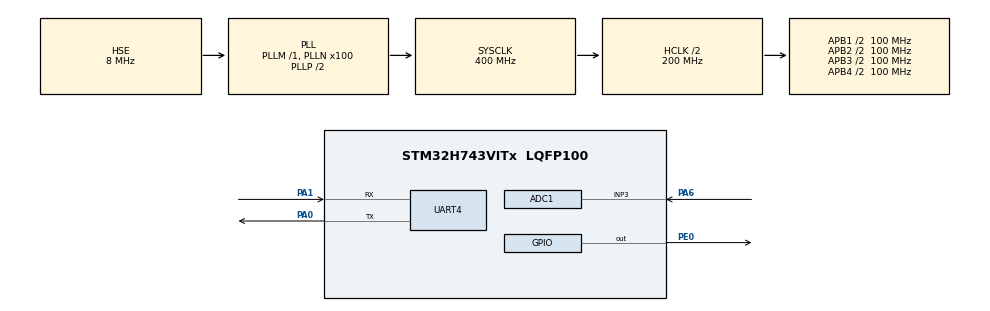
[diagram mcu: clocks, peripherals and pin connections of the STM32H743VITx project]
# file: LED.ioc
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ADC1.Channel-0\#ChannelRegularConversion=ADC_CHANNEL_3
ADC1.ClockPrescaler=ADC_CLOCK_ASYNC_DIV6
ADC1.ConversionDataManagement=ADC_CONVERSIONDATA_DMA_CIRCULAR
ADC1.ExternalTrigConv=ADC_EXTERNALTRIG_T3_TRGO
ADC1.NbrOfConversion=1
ADC1.NbrOfConversionFlag=1
ADC1.OffsetNumber-0\#ChannelRegularConversion=ADC_OFFSET_NONE
ADC1.OversamplingMode=ENABLE
ADC1.Rank-0\#ChannelRegularConversion=1
ADC1.Ratio=1023
ADC1.RightBitShift=ADC_RIGHTBITSHIFT_10
ADC1.SamplingTime-0\#ChannelRegularConversion=ADC_SAMPLETIME_1CYCLE_5
ADC1.master=1
Bdma.BDMA_GENERATOR0.0.Direction=DMA_MEMORY_TO_PERIPH
Bdma.BDMA_GENERATOR0.0.EventEnable=DISABLE
Bdma.BDMA_GENERATOR0.0.Instance=BDMA_Channel0
Bdma.BDMA_GENERATOR0.0.MemDataAlignment=DMA_MDATAALIGN_HALFWORD
Bdma.BDMA_GENERATOR0.0.MemInc=DMA_MINC_ENABLE
Bdma.BDMA_GENERATOR0.0.Mode=DMA_CIRCULAR
Bdma.BDMA_GENERATOR0.0.PeriphDataAlignment=DMA_PDATAALIGN_HALFWORD
Bdma.BDMA_GENERATOR0.0.PeriphInc=DMA_PINC_DISABLE
Bdma.BDMA_GENERATOR0.0.Polarity=HAL_DMAMUX_REQ_GEN_RISING
Bdma.BDMA_GENERATOR0.0.Priority=DMA_PRIORITY_LOW
Bdma.BDMA_GENERATOR0.0.RequestNumber=1
Bdma.BDMA_GENERATOR0.0.SignalID=HAL_DMAMUX2_REQ_GEN_LPTIM2_OUT
Bdma.BDMA_GENERATOR0.0.SyncEnable=DISABLE
Bdma.BDMA_GENERATOR0.0.SyncPolarity=HAL_DMAMUX_SYNC_NO_EVENT
Bdma.BDMA_GENERATOR0.0.SyncRequestNumber=1
Bdma.BDMA_GENERATOR0.0.SyncSignalID=NONE
Bdma.Request0=BDMA_GENERATOR0
Bdma.RequestsNb=1
CORTEX_M7.CPU_DCache=Disabled
CORTEX_M7.CPU_ICache=Disabled
Dma.ADC1.0.Direction=DMA_PERIPH_TO_MEMORY
Dma.ADC1.0.EventEnable=DISABLE
Dma.ADC1.0.FIFOMode=DMA_FIFOMODE_DISABLE
Dma.ADC1.0.Instance=DMA1_Stream0
Dma.ADC1.0.MemDataAlignment=DMA_MDATAALIGN_HALFWORD
Dma.ADC1.0.MemInc=DMA_MINC_ENABLE
Dma.ADC1.0.Mode=DMA_CIRCULAR
Dma.ADC1.0.PeriphDataAlignment=DMA_PDATAALIGN_HALFWORD
Dma.ADC1.0.PeriphInc=DMA_PINC_DISABLE
Dma.ADC1.0.Polarity=HAL_DMAMUX_REQ_GEN_RISING
Dma.ADC1.0.Priority=DMA_PRIORITY_LOW
Dma.ADC1.0.RequestNumber=1
Dma.ADC1.0.SignalID=NONE
Dma.ADC1.0.SyncEnable=DISABLE
Dma.ADC1.0.SyncPolarity=HAL_DMAMUX_SYNC_NO_EVENT
Dma.ADC1.0.SyncRequestNumber=1
Dma.ADC1.0.SyncSignalID=NONE
Dma.Request0=ADC1
Dma.Request1=UART4_RX
Dma.UART4_RX.1.Direction=DMA_PERIPH_TO_MEMORY
Dma.UART4_RX.1.EventEnable=DISABLE
Dma.UART4_RX.1.FIFOMode=DMA_FIFOMODE_DISABLE
Dma.UART4_RX.1.Instance=DMA2_Stream0
Dma.UART4_RX.1.MemDataAlignment=DMA_MDATAALIGN_BYTE
Dma.UART4_RX.1.MemInc=DMA_MINC_ENABLE
Dma.UART4_RX.1.Mode=DMA_NORMAL
Dma.UART4_RX.1.PeriphDataAlignment=DMA_PDATAALIGN_BYTE
Dma.UART4_RX.1.PeriphInc=DMA_PINC_DISABLE
Dma.UART4_RX.1.Polarity=HAL_DMAMUX_REQ_GEN_RISING
Dma.UART4_RX.1.Priority=DMA_PRIORITY_LOW
Dma.UART4_RX.1.RequestNumber=1
Dma.UART4_RX.1.SignalID=NONE
Dma.UART4_RX.1.SyncEnable=DISABLE
Dma.UART4_RX.1.SyncPolarity=HAL_DMAMUX_SYNC_NO_EVENT
Dma.UART4_RX.1.SyncRequestNumber=1
Dma.UART4_RX.1.SyncSignalID=NONE
Mcu.Family=STM32H7
Mcu.Name=STM32H743VITx
Mcu.Package=LQFP100
NVIC.BDMA_Channel0_IRQn=true\:0\:0\:false\:false\:true\:true\:true
NVIC.DMA1_Stream0_IRQn=true\:1\:0\:true\:false\:true\:false\:true
NVIC.DMA2_Stream0_IRQn=true\:0\:0\:false\:false\:true\:false\:true
NVIC.DMAMUX2_OVR_IRQn=true\:0\:0\:false\:false\:true\:false\:true
NVIC.PriorityGroup=NVIC_PRIORITYGROUP_4
NVIC.TIM3_IRQn=true\:0\:0\:false\:false\:true\:true\:true
PA0.Mode=Asynchronous
PA0.Signal=UART4_TX
PA1.Mode=Asynchronous
PA1.Signal=UART4_RX
PA6.Signal=ADCx_INP3
PE0.Signal=GPIO_Output
PH0-OSC_IN\ (PH0).Mode=HSE-External-Oscillator
PH0-OSC_IN\ (PH0).Signal=RCC_OSC_IN
PH1-OSC_OUT\ (PH1).Mode=HSE-External-Oscillator
PH1-OSC_OUT\ (PH1).Signal=RCC_OSC_OUT
ProjectManager.HeapSize=0x200
ProjectManager.StackSize=0x400
ProjectManager.TargetToolchain=MDK-ARM V5
RCC.ADCFreq_Value=76000000
RCC.APB1Freq_Value=100000000
RCC.APB2Freq_Value=100000000
RCC.APB3Freq_Value=100000000
RCC.APB4Freq_Value=100000000
RCC.CortexFreq_Value=400000000
RCC.D1PPRE=RCC_APB3_DIV2
RCC.D2PPRE1=RCC_APB1_DIV2
RCC.D2PPRE2=RCC_APB2_DIV2
RCC.D3PPRE=RCC_APB4_DIV2
RCC.DIVM1=1
RCC.DIVM2=1
RCC.DIVN1=100
RCC.DIVN2=19
RCC.HCLKFreq_Value=200000000
RCC.HPRE=RCC_HCLK_DIV2
RCC.HSE_VALUE=8000000
RCC.PLLSourceVirtual=RCC_PLLSOURCE_HSE
RCC.PWR_Regulator_Voltage_Scale=PWR_REGULATOR_VOLTAGE_SCALE1
RCC.SYSCLKFreq_VALUE=400000000
RCC.SYSCLKSource=RCC_SYSCLKSOURCE_PLLCLK
RCC.USBFreq_Value=400000000
SH.ADCx_INP3.0=ADC1_INP3,IN3-Single-Ended
TIM3.Period=1000-1
TIM3.Prescaler=100-1
TIM3.TIM_MasterOutputTrigger=TIM_TRGO_UPDATE
TIM3.TIM_MasterSlaveMode=TIM_MASTERSLAVEMODE_DISABLE
VP_LPTIM2_VS_LPTIM_counterModeInternalClock.Mode=Counts__internal_clock_event_00
VP_TIM3_VS_ClockSourceINT.Mode=Internal
board=custom

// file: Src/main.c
/* USER CODE BEGIN Header */
/**
  ******************************************************************************
  * @file           : main.c
  * @brief          : Main program body
  ******************************************************************************
  ** This notice applies to any and all portions of this file
  * that are not between comment pairs USER CODE BEGIN and
  * USER CODE END. Other portions of this file, whether
  * inserted by the user or by software development tools
  * are owned by their respective copyright owners.
  *
  * COPYRIGHT(c) 2019 STMicroelectronics
  *
  * Redistribution and use in source and binary forms, with or without modification,
  * are permitted provided that the following conditions are met:
  *   1. Redistributions of source code must retain the above copyright notice,
  *      this list of conditions and the following disclaimer.
  *   2. Redistributions in binary form must reproduce the above copyright notice,
  *      this list of conditions and the following disclaimer in the documentation
  *      and/or other materials provided with the distribution.
  *   3. Neither the name of STMicroelectronics nor the names of its contributors
  *      may be used to endorse or promote products derived from this software
  *      without specific prior written permission.
  *
  * THIS SOFTWARE IS PROVIDED BY THE COPYRIGHT HOLDERS AND CONTRIBUTORS "AS IS"
  * AND ANY EXPRESS OR IMPLIED WARRANTIES, INCLUDING, BUT NOT LIMITED TO, THE
  * IMPLIED WARRANTIES OF MERCHANTABILITY AND FITNESS FOR A PARTICULAR PURPOSE ARE
  * DISCLAIMED. IN NO EVENT SHALL THE COPYRIGHT HOLDER OR CONTRIBUTORS BE LIABLE
  * FOR ANY DIRECT, INDIRECT, INCIDENTAL, SPECIAL, EXEMPLARY, OR CONSEQUENTIAL
  * DAMAGES (INCLUDING, BUT NOT LIMITED TO, PROCUREMENT OF SUBSTITUTE GOODS OR
  * SERVICES; LOSS OF USE, DATA, OR PROFITS; OR BUSINESS INTERRUPTION) HOWEVER
  * CAUSED AND ON ANY THEORY OF LIABILITY, WHETHER IN CONTRACT, STRICT LIABILITY,
  * OR TORT (INCLUDING NEGLIGENCE OR OTHERWISE) ARISING IN ANY WAY OUT OF THE USE
  * OF THIS SOFTWARE, EVEN IF ADVISED OF THE POSSIBILITY OF SUCH DAMAGE.
  *
  ******************************************************************************
  */
/* USER CODE END Header */

#include "main.h"
#include "adc.h"
#include "bdma.h"
#include "dma.h"
#include "lptim.h"
#include "tim.h"
#include "usart.h"
#include "gpio.h"

/* USER CODE BEGIN Includes */
#include "arm_math.h"
#include "bdma.h"
//#include "lptim.h"
#include "DDS.h"
#include "arm_fir_example_f32.h"
#include "arm_iir_example_f32.h"
#include "ADPCM.h"
/* USER CODE END Includes */

void SystemClock_Config(void);
/* USER CODE BEGIN PFP */
short WorkingBuf[1024];
signed char Qerror[1024];
short Output[1024];
u16 len = 0;
/* USER CODE END PFP */

/* USER CODE BEGIN 0 */
void SysTick_interrupt()			//1ms
{
//	static u32 i;
//	if(i==1000)
//	{
//		HAL_GPIO_TogglePin(GPIOE,GPIO_PIN_0);
// 		i=0;
//	}
//	i++;
}

/* USER CODE END 0 */

int main(void)
{
  /* USER CODE BEGIN 1 */
    /* Enable I-Cache---------------------------------------------------------*/
//  SCB_EnableICache();

//  /* Enable D-Cache---------------------------------------------------------*/
//  SCB_EnableDCache();
  /* USER CODE END 1 */

  /* MCU Configuration--------------------------------------------------------*/

  /* Reset of all peripherals, Initializes the Flash interface and the Systick. */
  HAL_Init();

  /* Configure the system clock */
  SystemClock_Config();

  /* Initialize all configured peripherals */
  MX_GPIO_Init();
  MX_BDMA_Init();
  MX_DMA_Init();
  MX_ADC1_Init();
  MX_TIM3_Init();
  MX_UART4_Init();
  MX_LPTIM2_Init();
  /* USER CODE BEGIN 2 */
//    ADC_Tim3_START();		//fs = 2k
    InitSinTable();
    DDS_init();
    UART_DMA_init();
    struct adpcm_state adpcm_deconding;

  /* USER CODE END 2 */

  /* Infinite loop */
    while(1)
    {

    /* USER CODE BEGIN 3 */
        if(UART_HALF == 1)
        {
            for(int i = 0; i < 256; i++)
            {
                Qerror[i] = aRxBuffer[i];
            }
            adpcm_decoder(Qerror, Output, 512, &adpcm_deconding);
//            for(int i = 0; i < 512; i++)	// �����
//            {
//                printf("%d ", Output[i]);
//            }
            UART_HALF = 0;
        }

        if(UART_FULL == 1)
        {
            for(int i = 256; i < 512; i++)
            {
                Qerror[i] = aRxBuffer[i];
            }
            adpcm_decoder(&Qerror[256], &Output[512], 512, &adpcm_deconding);
//            for(int i = 512; i < 1024; i++)// �����
//            {
//                printf("%d ", Output[i]);
//            }
            UART_FULL = 0;
        }

        if(DAC_HALF == 1)
        {
            for(int i = 0; i < 512; i++)
            {
                if(Output[i] < 0)
                    u16DDS_DataOut[i] = -Output[i];
                else
                    u16DDS_DataOut[i] = (short)(Output[i] + 32767);
            }
            DAC_HALF = 0;
        }
        if(DAC_FULL == 1)
        {
            for(int i = 512; i < 1024; i++)
            {
                if(Output[i] < 0)
                    u16DDS_DataOut[i] = -Output[i];
                else
                    u16DDS_DataOut[i] = (short)(Output[i] + 32767);
            }
        }

        DAC_FULL = 0;
    }
  /* USER CODE END 3 */
}

void SystemClock_Config(void)
{
  RCC_OscInitTypeDef RCC_OscInitStruct = {0};
  RCC_ClkInitTypeDef RCC_ClkInitStruct = {0};
  RCC_PeriphCLKInitTypeDef PeriphClkInitStruct = {0};

  /** Supply configuration update enable
  */
  HAL_PWREx_ConfigSupply(PWR_LDO_SUPPLY);
  /** Configure the main internal regulator output voltage
  */
  __HAL_PWR_VOLTAGESCALING_CONFIG(PWR_REGULATOR_VOLTAGE_SCALE1);

  while(!__HAL_PWR_GET_FLAG(PWR_FLAG_VOSRDY)) {}
  /** Macro to configure the PLL clock source
  */
  __HAL_RCC_PLL_PLLSOURCE_CONFIG(RCC_PLLSOURCE_HSE);
  /** Initializes the CPU, AHB and APB busses clocks
  */
  RCC_OscInitStruct.OscillatorType = RCC_OSCILLATORTYPE_HSE;
  RCC_OscInitStruct.HSEState = RCC_HSE_ON;
  RCC_OscInitStruct.PLL.PLLState = RCC_PLL_ON;
  RCC_OscInitStruct.PLL.PLLSource = RCC_PLLSOURCE_HSE;
  RCC_OscInitStruct.PLL.PLLM = 1;
  RCC_OscInitStruct.PLL.PLLN = 100;
  RCC_OscInitStruct.PLL.PLLP = 2;
  RCC_OscInitStruct.PLL.PLLQ = 2;
  RCC_OscInitStruct.PLL.PLLR = 2;
  RCC_OscInitStruct.PLL.PLLRGE = RCC_PLL1VCIRANGE_3;
  RCC_OscInitStruct.PLL.PLLVCOSEL = RCC_PLL1VCOWIDE;
  RCC_OscInitStruct.PLL.PLLFRACN = 0;
  if (HAL_RCC_OscConfig(&RCC_OscInitStruct) != HAL_OK)
  {
    Error_Handler();
  }
  /** Initializes the CPU, AHB and APB busses clocks
  */
  RCC_ClkInitStruct.ClockType = RCC_CLOCKTYPE_HCLK|RCC_CLOCKTYPE_SYSCLK
                              |RCC_CLOCKTYPE_PCLK1|RCC_CLOCKTYPE_PCLK2
                              |RCC_CLOCKTYPE_D3PCLK1|RCC_CLOCKTYPE_D1PCLK1;
  RCC_ClkInitStruct.SYSCLKSource = RCC_SYSCLKSOURCE_PLLCLK;
  RCC_ClkInitStruct.SYSCLKDivider = RCC_SYSCLK_DIV1;
  RCC_ClkInitStruct.AHBCLKDivider = RCC_HCLK_DIV2;
  RCC_ClkInitStruct.APB3CLKDivider = RCC_APB3_DIV2;
  RCC_ClkInitStruct.APB1CLKDivider = RCC_APB1_DIV2;
  RCC_ClkInitStruct.APB2CLKDivider = RCC_APB2_DIV2;
  RCC_ClkInitStruct.APB4CLKDivider = RCC_APB4_DIV2;

  if (HAL_RCC_ClockConfig(&RCC_ClkInitStruct, FLASH_LATENCY_2) != HAL_OK)
  {
    Error_Handler();
  }
  PeriphClkInitStruct.PeriphClockSelection = RCC_PERIPHCLK_UART4|RCC_PERIPHCLK_LPTIM2
                              |RCC_PERIPHCLK_ADC;
  PeriphClkInitStruct.PLL2.PLL2M = 1;
  PeriphClkInitStruct.PLL2.PLL2N = 19;
  PeriphClkInitStruct.PLL2.PLL2P = 2;
  PeriphClkInitStruct.PLL2.PLL2Q = 2;
  PeriphClkInitStruct.PLL2.PLL2R = 2;
  PeriphClkInitStruct.PLL2.PLL2RGE = RCC_PLL2VCIRANGE_3;
  PeriphClkInitStruct.PLL2.PLL2VCOSEL = RCC_PLL2VCOMEDIUM;
  PeriphClkInitStruct.PLL2.PLL2FRACN = 0;
  PeriphClkInitStruct.Usart234578ClockSelection = RCC_USART234578CLKSOURCE_D2PCLK1;
  PeriphClkInitStruct.Lptim2ClockSelection = RCC_LPTIM2CLKSOURCE_D3PCLK1;
  PeriphClkInitStruct.AdcClockSelection = RCC_ADCCLKSOURCE_PLL2;
  if (HAL_RCCEx_PeriphCLKConfig(&PeriphClkInitStruct) != HAL_OK)
  {
    Error_Handler();
  }
}

void Error_Handler(void)
{
}

/************************ (C) COPYRIGHT STMicroelectronics *****END OF FILE****/
